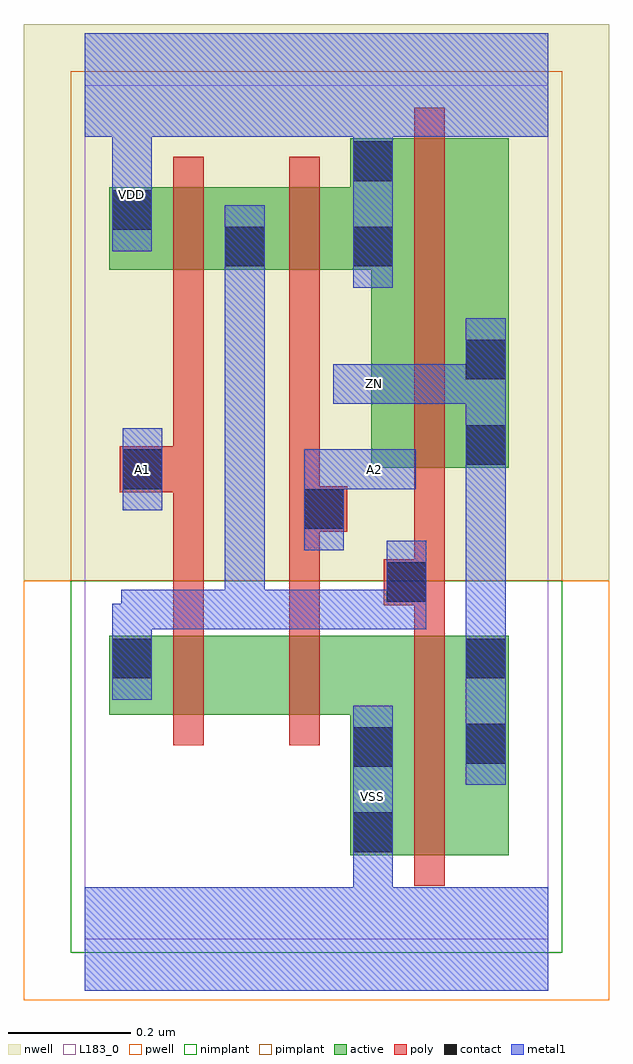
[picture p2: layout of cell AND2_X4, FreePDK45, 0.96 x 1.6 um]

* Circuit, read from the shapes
.subckt AND2_X4 A1 A2 VDD VSS ZN
M1 n1 A1 n2 VSUBS nfet w=0.13u l=0.05u
M2 VSS A2 n1 VSUBS nfet w=0.13u l=0.05u
M3 ZN n2 VSS VSUBS nfet w=0.36u l=0.05u
M4 n2 A1 VDD n3 pfet w=0.135u l=0.05u
M5 VDD A2 n2 n3 pfet w=0.135u l=0.05u
M6 ZN n2 VDD n3 pfet w=0.54u l=0.05u
.ends

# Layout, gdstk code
import gdstk
lib = gdstk.Library(unit=1e-6, precision=1e-10)
def R(c, l, rs):  # rectangles x0, y0, x1, y1
    for r in rs: c.add(gdstk.rectangle(r[:2], r[2:], *l))
def P(c, l, *ps):  # polygons
    for p in ps: c.add(gdstk.Polygon(p, *l))
active = (1, 0)
pwell = (2, 0)
nwell = (3, 0)
nimplant = (4, 0)
pimplant = (5, 0)
poly = (9, 0)
contact = (10, 0)
metal1 = (11, 0)
L183_0 = (183, 0)

and2_x4 = lib.new_cell('AND2_X4')
P(and2_x4, active, [(0.04,0.3675),(0.145,0.3675),(0.195,0.3675),(0.335,0.3675),(0.385,0.3675),(0.435,0.3675),(0.435,0.1375),(0.54,0.1375),(0.59,0.1375),(0.695,0.1375),(0.695,0.4975),(0.59,0.4975),(0.54,0.4975),(0.385,0.4975),(0.335,0.4975),(0.195,0.4975),(0.145,0.4975),(0.04,0.4975)],
  [(0.04,1.0975),(0.145,1.0975),(0.195,1.0975),(0.335,1.0975),(0.385,1.0975),(0.47,1.0975),(0.47,0.7725),(0.54,0.7725),(0.59,0.7725),(0.695,0.7725),(0.695,1.3125),(0.59,1.3125),(0.54,1.3125),(0.435,1.3125),(0.435,1.2325),(0.385,1.2325),(0.335,1.2325),(0.195,1.2325),(0.145,1.2325),(0.04,1.2325)])
P(and2_x4, pwell, [(-0.1,-0.1),(0.86,-0.1),(0.86,0.5875),(0.66,0.5875),(0.1,0.5875),(-0.1,0.5875)])
P(and2_x4, nwell, [(-0.1,0.5875),(0.1,0.5875),(0.66,0.5875),(0.86,0.5875),(0.86,1.5),(-0.1,1.5)])
R(and2_x4, nimplant, [(-0.0225,-0.0225,0.7825,0.5875)])
R(and2_x4, pimplant, [(-0.0225,0.5875,0.7825,1.4225)])
P(and2_x4, poly, [(0.0575,0.7325),(0.145,0.7325),(0.145,0.4975),(0.145,0.3675),(0.145,0.3175),(0.195,0.3175),(0.195,0.3675),(0.195,0.4975),(0.195,1.0975),(0.195,1.2325),(0.195,1.2825),(0.145,1.2825),(0.145,1.2325),(0.145,1.0975),(0.145,0.8075),(0.0575,0.8075)],
  [(0.335,0.3175),(0.385,0.3175),(0.385,0.3675),(0.385,0.4975),(0.385,0.6675),(0.43,0.6675),(0.43,0.7425),(0.385,0.7425),(0.385,1.0975),(0.385,1.2325),(0.385,1.2825),(0.335,1.2825),(0.335,1.2325),(0.335,1.0975),(0.335,0.4975),(0.335,0.3675)],
  [(0.49,0.5475),(0.54,0.5475),(0.54,0.4975),(0.54,0.1375),(0.54,0.0875),(0.59,0.0875),(0.59,0.1375),(0.59,0.4975),(0.59,0.7725),(0.59,1.3125),(0.59,1.3625),(0.54,1.3625),(0.54,1.3125),(0.54,0.7725),(0.54,0.6225),(0.49,0.6225)])
R(and2_x4, contact, [(0.44,0.1425,0.505,0.2075), (0.44,0.2825,0.505,0.3475), (0.625,0.2875,0.69,0.3525), (0.045,0.4275,0.11,0.4925), (0.625,0.4275,0.69,0.4925), (0.495,0.5525,0.56,0.6175), (0.36,0.6725,0.425,0.7375), (0.0625,0.7375,0.1275,0.8025), (0.625,0.7775,0.69,0.8425), (0.625,0.9175,0.69,0.9825), (0.23,1.1025,0.295,1.1675), (0.44,1.1025,0.505,1.1675), (0.045,1.1625,0.11,1.2275), (0.44,1.2425,0.505,1.3075)])
R(and2_x4, metal1, [(0.0625,0.7025,0.1275,0.8375)])
P(and2_x4, metal1, [(0,-0.085),(0.76,-0.085),(0.76,0.085),(0.505,0.085),(0.505,0.3825),(0.44,0.3825),(0.44,0.085),(0,0.085)],
  [(0,1.315),(0.045,1.315),(0.045,1.1275),(0.11,1.1275),(0.11,1.315),(0.44,1.315),(0.44,1.0675),(0.505,1.0675),(0.505,1.315),(0.76,1.315),(0.76,1.485),(0,1.485)],
  [(0.36,0.6375),(0.425,0.6375),(0.425,0.7375),(0.5425,0.7375),(0.5425,0.8025),(0.36,0.8025)],
  [(0.045,0.3925),(0.11,0.3925),(0.11,0.5075),(0.56,0.5075),(0.56,0.6525),(0.495,0.6525),(0.495,0.5725),(0.295,0.5725),(0.295,1.2025),(0.23,1.2025),(0.23,0.5725),(0.06,0.5725),(0.06,0.55),(0.045,0.55)],
  [(0.4075,0.8775),(0.625,0.8775),(0.625,0.2525),(0.69,0.2525),(0.69,1.0175),(0.625,1.0175),(0.625,0.9425),(0.4075,0.9425)])
R(and2_x4, L183_0, [(0,0,0.76,1.4)])
and2_x4.add(gdstk.Label('A1', (0.095,0.77), layer=11, texttype=0))
and2_x4.add(gdstk.Label('A2', (0.475,0.77), layer=11, texttype=0))
and2_x4.add(gdstk.Label('VDD', (0.0775,1.2212), layer=11, texttype=0))
and2_x4.add(gdstk.Label('VSS', (0.4725,0.2337), layer=11, texttype=0))
and2_x4.add(gdstk.Label('ZN', (0.475,0.91), layer=11, texttype=0))

lib.write_gds('AND2_X4.gds')
